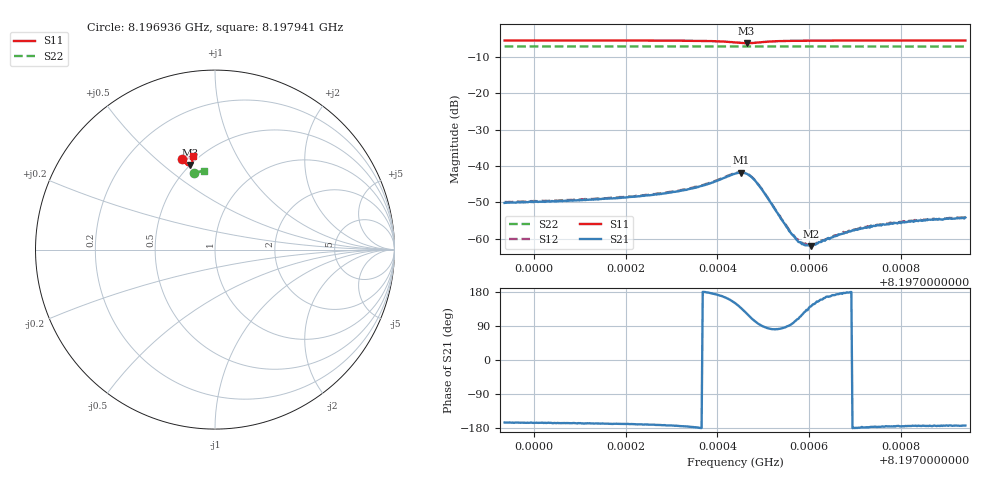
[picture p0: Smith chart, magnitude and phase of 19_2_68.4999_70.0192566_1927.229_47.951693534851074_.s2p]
#  HZ  S  RI  R  50.00
! Rohde & Schwarz Vector Network Analyzer
! Rohde-Schwarz,ZNB20-2Port,1311601062101988,3.16
! Created: UTC 3/20/2024, 4:49:21 PM
! freq[Hz]  re:S11  im:S11  re:S21  im:S21  re:S12  im:S12  re:S22  im:S22
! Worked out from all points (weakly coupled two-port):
!   401 points, 8.196936 GHz to 8.197941 GHz, reference 50 ohm
!   highest |S21| = -41.80 dB at 8.197451 GHz (marker M1); lowest = -62.0 dB at 8.197604 GHz (marker M2)
!   lowest |S11| = -6.2 dB at 8.197463 GHz (marker M3), VSWR 2.93, Z = 25 + j31 ohm
!   |S11| at or under -10 dB: nowhere
!   |S22| runs from -7.1 to -7.0 dB; largest |S21 - S12| = 0.00043
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8.1969356e9  -0.184 0.5035  -0.00301 -0.000809  -0.00313 -0.000726  -0.1182 0.4281
8.197104e9  -0.1709 0.5076  -0.00331 -0.000746  -0.00344 -0.000673  -0.1089 0.4304
8.1972145e9  -0.1613 0.51  -0.00371 -0.000717  -0.00379 -0.000574  -0.1028 0.4317
8.1972723e9  -0.1551 0.5109  -0.00405 -0.000607  -0.00417 -0.000474  -0.0996 0.432
8.1973578e9  -0.1426 0.5102  -0.00514 -0.000178  -0.00529 7.23e-05  -0.0948 0.4331
8.1974382e9  -0.1258 0.4872  -0.00683 0.0039  -0.00676 0.0043  -0.09 0.4331
8.1974508e9  -0.1296 0.4778  -0.00603 0.00546  -0.00586 0.00583  -0.0896 0.433
8.1974633e9  -0.1392 0.4707  -0.00429 0.00659  -0.00402 0.00688  -0.0891 0.4331
8.1974759e9  -0.1513 0.4707  -0.00213 0.00655  -0.00187 0.00673  -0.0887 0.4331
8.197491e9  -0.1617 0.478  -0.000388 0.00532  -0.00016 0.00544  -0.0881 0.4335
8.1975588e9  -0.1601 0.5047  -5.36e-05 0.00123  -2.25e-05 0.00124  -0.0844 0.435
8.1975714e9  -0.1582 0.5065  -0.000246 0.000952  -0.000204 0.000986  -0.0836 0.435
8.197584e9  -0.1563 0.5083  -0.000407 0.00074  -0.000396 0.000787  -0.0829 0.4352
8.197589e9  -0.1556 0.5088  -0.000483 0.00067  -0.00045 0.000696  -0.0825 0.4352
8.1976041e9  -0.1535 0.5102  -0.000619 0.000493  -0.000614 0.000543  -0.0818 0.4353
8.1976066e9  -0.1534 0.5104  -0.000659 0.000461  -0.00063 0.000515  -0.0816 0.4354
8.1976518e9  -0.148 0.5132  -0.00104 0.000159  -0.00104 0.000205  -0.0791 0.4357
8.1976971e9  -0.1433 0.5153  -0.0013 -2.14e-05  -0.00134 7.37e-05  -0.0765 0.4361
8.1977398e9  -0.1394 0.5167  -0.00151 -9.11e-05  -0.00151 -4.54e-05  -0.0742 0.4366
8.197775e9  -0.1363 0.5176  -0.00158 -0.000133  -0.00165 -9.04e-05  -0.072 0.4367
8.1978554e9  -0.1296 0.5194  -0.0018 -0.000187  -0.00183 -0.000123  -0.0675 0.4374
8.1979408e9  -0.123 0.521  -0.00195 -0.000239  -0.00196 -0.000145  -0.0628 0.438
